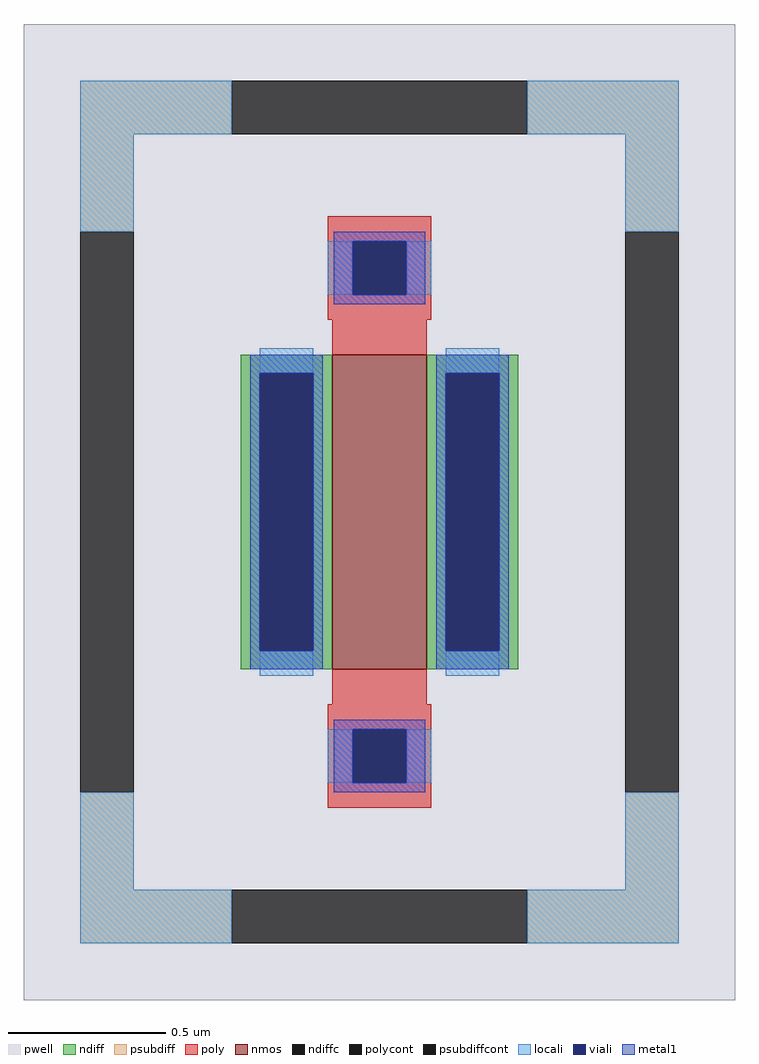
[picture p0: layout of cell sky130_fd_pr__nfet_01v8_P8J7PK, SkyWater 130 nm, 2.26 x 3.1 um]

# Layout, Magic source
magic
tech sky130B
magscale 1 2
<< pwell >>
rect -226 -310 226 310
<< nmos >>
rect -30 -100 30 100
<< ndiff >>
rect -88 88 -30 100
rect -88 -88 -76 88
rect -42 -88 -30 88
rect -88 -100 -30 -88
rect 30 88 88 100
rect 30 -88 42 88
rect 76 -88 88 88
rect 30 -100 88 -88
<< ndiffc >>
rect -76 -88 -42 88
rect 42 -88 76 88
<< psubdiff >>
rect -190 240 -94 274
rect 94 240 190 274
rect -190 178 -156 240
rect 156 178 190 240
rect -190 -240 -156 -178
rect 156 -240 190 -178
rect -190 -274 -94 -240
rect 94 -274 190 -240
<< psubdiffcont >>
rect -94 240 94 274
rect -190 -178 -156 178
rect 156 -178 190 178
rect -94 -274 94 -240
<< poly >>
rect -33 172 33 188
rect -33 138 -17 172
rect 17 138 33 172
rect -33 122 33 138
rect -30 100 30 122
rect -30 -122 30 -100
rect -33 -138 33 -122
rect -33 -172 -17 -138
rect 17 -172 33 -138
rect -33 -188 33 -172
<< polycont >>
rect -17 138 17 172
rect -17 -172 17 -138
<< locali >>
rect -190 240 -94 274
rect 94 240 190 274
rect -190 178 -156 240
rect 156 178 190 240
rect -33 138 -17 172
rect 17 138 33 172
rect -76 88 -42 104
rect -76 -104 -42 -88
rect 42 88 76 104
rect 42 -104 76 -88
rect -33 -172 -17 -138
rect 17 -172 33 -138
rect -190 -240 -156 -178
rect 156 -240 190 -178
rect -190 -274 -94 -240
rect 94 -274 190 -240
<< viali >>
rect -17 138 17 172
rect -76 -88 -42 88
rect 42 -88 76 88
rect -17 -172 17 -138
<< metal1 >>
rect -29 172 29 178
rect -29 138 -17 172
rect 17 138 29 172
rect -29 132 29 138
rect -82 88 -36 100
rect -82 -88 -76 88
rect -42 -88 -36 88
rect -82 -100 -36 -88
rect 36 88 82 100
rect 36 -88 42 88
rect 76 -88 82 88
rect 36 -100 82 -88
rect -29 -138 29 -132
rect -29 -172 -17 -138
rect 17 -172 29 -138
rect -29 -178 29 -172
<< properties >>
string FIXED_BBOX -173 -257 173 257
string gencell sky130_fd_pr__nfet_01v8
string library sky130
string parameters w 1 l 0.30 m 1 nf 1 diffcov 100 polycov 100 guard 1 glc 1 grc 1 gtc 1 gbc 1 tbcov 100 rlcov 100 topc 1 botc 1 poverlap 0 doverlap 1 lmin 0.15 wmin 0.42 compatible {sky130_fd_pr__nfet_01v8 sky130_fd_pr__nfet_01v8_lvt  sky130_fd_bs_flash__special_sonosfet_star  sky130_fd_pr__nfet_g5v0d10v5 sky130_fd_pr__nfet_05v0_nvt  sky130_fd_pr__nfet_03v3_nvt} full_metal 1 viasrc 100 viadrn 100 viagate 100 viagb 0 viagr 0 viagl 0 viagt 0
<< end >>
